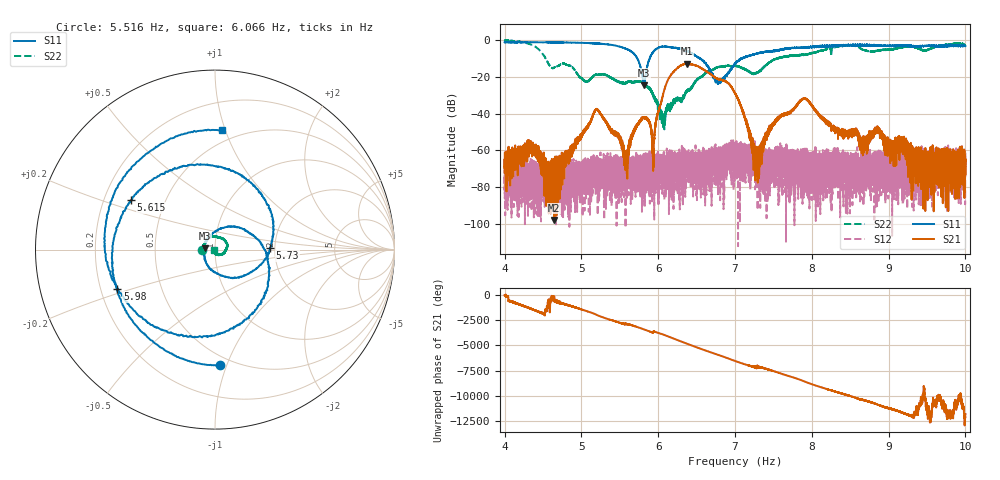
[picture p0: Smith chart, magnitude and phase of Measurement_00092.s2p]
!Created with skrf (http://scikit-rf.org).
# Hz S RI R 50.0
!freq ReS11 ImS11 ReS21 ImS21 ReS12 ImS12 ReS22 ImS22
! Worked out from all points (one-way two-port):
!   14001 points, 4 Hz to 10 Hz, reference 50 ohm
!   highest |S21| = -12.87 dB at 6.369 Hz (marker M1); lowest = -98.0 dB at 4.648 Hz (marker M2)
!   lowest |S11| = -24.6 dB at 5.814 Hz (marker M3), VSWR 1.12, Z = 44.5 + j0.729 ohm
!   |S11| at or under -10 dB: 5.727 Hz to 5.889 Hz (162.3 mHz wide, 2.79 % of centre); 6.54 Hz to 7.081 Hz (540.4 mHz wide, 7.93 % of centre); 7.080603 Hz to 7.081328 Hz (724.6 uHz wide, 0.0102 % of centre) (the widest 3 of 7)
!   |S22| runs from -48.6 to -0.2 dB; largest |S21 - S12| = 0.23
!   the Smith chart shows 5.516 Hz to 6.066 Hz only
!   S11 on the Smith chart (normalised r, x): 5.516 Hz: 0.43, -0.95; 5.615 Hz: 0.32, +0.25; 5.73 Hz: 1.88, +0.04; 5.98 Hz: 0.27, -0.18; 6.066 Hz: 0.41, +0.98
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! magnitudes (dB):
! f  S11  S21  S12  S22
! 4 Hz  -1.1  -69.6  -73.7  -0.2
! 4.339 Hz  -1.1  -57.8  -64.1  -2.3
! 4.648 Hz  -1.2  -98.0  -74.0  -14.9
! 5 Hz  -1.5  -51.6  -79.8  -20.8
! 5.203 Hz  -1.8  -37.6  -68.9  -18.9
! 5.516 Hz  -3.8  -55.0  -70.5  -23.1
! 5.615 Hz  -5.3  -61.0  -72.7  -22.3
! 5.73 Hz  -10.3  -46.4  -72.5  -22.3
! 5.814 Hz  -24.6  -42.3  -74.9  -23.9
! 5.931 Hz  -6.6  -63.4  -73.7  -29.3
! 5.98 Hz  -4.6  -42.0  -79.7  -33.1
! 6 Hz  -4.2  -39.1  -67.0  -34.9
! 6.066 Hz  -3.5  -29.3  -69.5  -44.9
! 6.369 Hz  -5.7  -12.9  -64.8  -27.8
! 6.776 Hz  -23.7  -21.2  -66.9  -14.8
! 7 Hz  -12.9  -28.9  -65.1  -14.0
! 7.288 Hz  -7.3  -69.0  -67.9  -17.6
! 7.561 Hz  -5.4  -42.2  -64.6  -9.7
! 8 Hz  -3.8  -35.5  -65.4  -6.9
! 8.371 Hz  -3.2  -49.0  -80.1  -3.4
! 9 Hz  -3.1  -55.5  -66.2  -5.1
! 10 Hz  -3.3  -65.9  -61.4  -3.0
